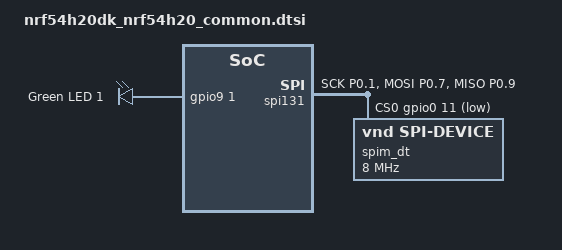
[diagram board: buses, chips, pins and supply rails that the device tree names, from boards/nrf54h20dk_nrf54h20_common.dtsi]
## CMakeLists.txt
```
#
# Copyright (c) 2025 Nordic Semiconductor ASA
# SPDX-License-Identifier: Apache-2.0
#

cmake_minimum_required(VERSION 3.28.0)

find_package(Zephyr REQUIRED HINTS $ENV{ZEPHYR_BASE})

project(wakeup_trigger)

target_sources(app PRIVATE src/main.c)
```

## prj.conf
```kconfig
CONFIG_SPI=y
CONFIG_SPI_NRFX_WAKE_TIMEOUT_US=500
CONFIG_GPIO=y

CONFIG_PM_DEVICE=y
CONFIG_PM_DEVICE_RUNTIME=y

CONFIG_LOG=y
```

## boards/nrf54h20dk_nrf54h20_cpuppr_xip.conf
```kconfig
CONFIG_ASSERT=n
```

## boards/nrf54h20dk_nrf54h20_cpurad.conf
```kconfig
CONFIG_PM=y

CONFIG_ASSERT=y
```

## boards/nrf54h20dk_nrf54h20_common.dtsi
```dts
/*
 * Copyright (c) 2025 Nordic Semiconductor
 * SPDX-License-Identifier: Apache-2.0
 */

/ {
	aliases {
		led = &led1;
	};

	leds {
		compatible = "gpio-leds";

		led1: led_1 {
			gpios = <&gpio9 1 GPIO_ACTIVE_HIGH>;
			label = "Green LED 1";
		};
	};
};

&gpiote130 {
	owned-channels = <1>;
	status = "okay";
};

&gpio0 {
	status = "okay";
};

&gpio9 {
	status = "okay";
};

&pinctrl {
	spi131_default_alt: spi131_default_alt {
		group1 {
			psels = <NRF_PSEL(SPIM_SCK, 0, 1)>,
				<NRF_PSEL(SPIM_MOSI, 0, 7)>,
				<NRF_PSEL(SPIM_MISO, 0, 9)>;
		};
	};

	spi131_sleep_alt: spi131_sleep_alt {
		group1 {
			psels = <NRF_PSEL(SPIM_SCK, 0, 1)>,
				<NRF_PSEL(SPIM_MOSI, 0, 7)>,
				<NRF_PSEL(SPIM_MISO, 0, 9)>;
			low-power-enable;
		};
	};
};

&spi131 {
	compatible = "nordic,nrf-spim";
	pinctrl-0 = <&spi131_default_alt>;
	pinctrl-1 = <&spi131_sleep_alt>;
	pinctrl-names = "default", "sleep";
	overrun-character = <0x00>;
	cs-gpios = <&gpio0 11 GPIO_ACTIVE_LOW>;
	wake-gpios = <&gpio0 4 GPIO_ACTIVE_HIGH>;
	status = "okay";

	spim_dt: spi-device@0 {
		compatible = "vnd,spi-device";
		reg = <0>;
		spi-max-frequency = <DT_FREQ_M(8)>;
	};
};
```

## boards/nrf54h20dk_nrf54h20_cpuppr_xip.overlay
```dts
/*
 * Copyright (c) 2025 Nordic Semiconductor
 * SPDX-License-Identifier: Apache-2.0
 */

#include "nrf54h20dk_nrf54h20_common.dtsi"
```

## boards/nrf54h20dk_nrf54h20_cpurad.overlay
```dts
/*
 * Copyright (c) 2025 Nordic Semiconductor
 * SPDX-License-Identifier: Apache-2.0
 */

#include "nrf54h20dk_nrf54h20_common.dtsi"

&spi131 {
	memory-regions = <&cpurad_dma_region>;
};
```

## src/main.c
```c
/*
 * Copyright (c) 2025 Nordic Semiconductor ASA
 * SPDX-License-Identifier: Apache-2.0
 */

#include <zephyr/kernel.h>
#include <zephyr/logging/log.h>
#include <zephyr/drivers/spi.h>
#include <zephyr/drivers/gpio.h>

#define SPI_MODE (SPI_OP_MODE_CONTROLLER | SPI_WORD_SET(8))
static const struct spi_dt_spec spim = SPI_DT_SPEC_GET(DT_NODELABEL(spim_dt), SPI_MODE);

static const struct gpio_dt_spec led = GPIO_DT_SPEC_GET(DT_ALIAS(led), gpios);

LOG_MODULE_REGISTER(spi_wakeup);

int main(void)
{
	bool status;
	static char tx_buffer[] = CONFIG_BOARD_QUALIFIERS;
	struct spi_buf tx_spi_bufs = {.buf = tx_buffer, .len = sizeof(tx_buffer)};
	struct spi_buf_set tx_spi_buf_set = {.buffers = &tx_spi_bufs, .count = 1};

	LOG_INF("Hello world from %s", CONFIG_BOARD_TARGET);

	status = gpio_is_ready_dt(&led);
	__ASSERT(status, "Error: GPIO Device not ready");

	status = gpio_pin_configure_dt(&led, GPIO_OUTPUT_ACTIVE);
	__ASSERT(status == 0, "Could not configure led GPIO");

	status = spi_is_ready_dt(&spim);
	__ASSERT(status, "Error: SPI device is not ready");

	while (1) {
		LOG_INF("SPIM: going to sleep for 1.5s...");
		gpio_pin_set_dt(&led, 0);
		k_msleep(1500);
		gpio_pin_set_dt(&led, 1);
		LOG_INF("SPIM: will be active for 500ms before transfer");
		k_busy_wait(500000);
		LOG_INF("SPIM: transferring the CONFIG_BOARD_QUALIFIERS: '%s'", tx_buffer);
		spi_write_dt(&spim, &tx_spi_buf_set);
	}

	return 0;
}
```
